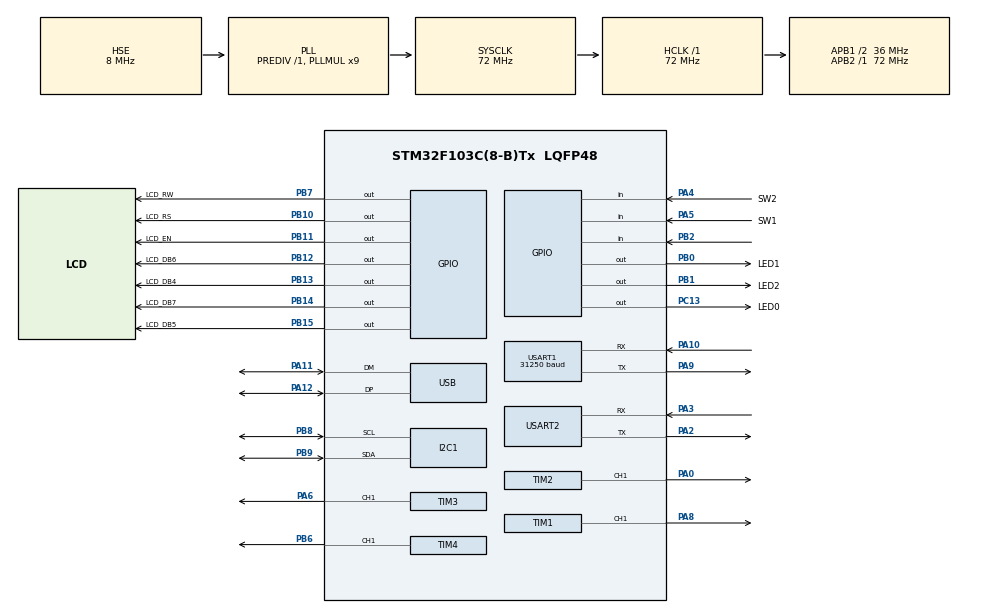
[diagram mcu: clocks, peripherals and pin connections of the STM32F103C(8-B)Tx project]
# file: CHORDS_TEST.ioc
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Mcu.Family=STM32F1
Mcu.Name=STM32F103C(8-B)Tx
Mcu.Package=LQFP48
NVIC.PriorityGroup=NVIC_PRIORITYGROUP_4
NVIC.TIM1_UP_IRQn=true\:0\:0\:false\:false\:true\:true\:true
PA0-WKUP.Signal=S_TIM2_CH1_ETR
PA10.Mode=Asynchronous
PA10.Signal=USART1_RX
PA11.Mode=Device
PA11.Signal=USB_DM
PA12.Mode=Device
PA12.Signal=USB_DP
PA13.Mode=Serial_Wire
PA13.Signal=SYS_JTMS-SWDIO
PA14.Mode=Serial_Wire
PA14.Signal=SYS_JTCK-SWCLK
PA2.Mode=Asynchronous
PA2.Signal=USART2_TX
PA3.Mode=Asynchronous
PA3.Signal=USART2_RX
PA4.GPIO_Label=SW2
PA4.Signal=GPIO_Input
PA5.GPIO_Label=SW1
PA5.Signal=GPIO_Input
PA6.Signal=S_TIM3_CH1
PA8.Signal=S_TIM1_CH1
PA9.Mode=Asynchronous
PA9.Signal=USART1_TX
PB0.GPIO_Label=LED1
PB0.Signal=GPIO_Output
PB1.GPIO_Label=LED2
PB1.Signal=GPIO_Output
PB10.GPIO_Label=LCD_RS
PB10.Signal=GPIO_Output
PB11.GPIO_Label=LCD_EN
PB11.Signal=GPIO_Output
PB12.GPIO_Label=LCD_DB6
PB12.Signal=GPIO_Output
PB13.GPIO_Label=LCD_DB4
PB13.Signal=GPIO_Output
PB14.GPIO_Label=LCD_DB7
PB14.Signal=GPIO_Output
PB15.GPIO_Label=LCD_DB5
PB15.Signal=GPIO_Output
PB2.Signal=GPIO_Input
PB6.Signal=S_TIM4_CH1
PB7.GPIO_Label=LCD_RW
PB7.Signal=GPIO_Output
PB8.Mode=I2C
PB8.Signal=I2C1_SCL
PB9.Mode=I2C
PB9.Signal=I2C1_SDA
PC13-TAMPER-RTC.GPIO_Label=LED0
PC13-TAMPER-RTC.Signal=GPIO_Output
PD0-OSC_IN.Mode=HSE-External-Oscillator
PD0-OSC_IN.Signal=RCC_OSC_IN
PD1-OSC_OUT.Mode=HSE-External-Oscillator
PD1-OSC_OUT.Signal=RCC_OSC_OUT
ProjectManager.HeapSize=0x200
ProjectManager.StackSize=0x400
ProjectManager.TargetToolchain=SW4STM32
RCC.AHBFreq_Value=72000000
RCC.APB1CLKDivider=RCC_HCLK_DIV2
RCC.APB1Freq_Value=36000000
RCC.APB1TimFreq_Value=72000000
RCC.APB2Freq_Value=72000000
RCC.APB2TimFreq_Value=72000000
RCC.HCLKFreq_Value=72000000
RCC.PLLMUL=RCC_PLL_MUL9
RCC.PLLSourceVirtual=RCC_PLLSOURCE_HSE
RCC.SYSCLKFreq_VALUE=72000000
RCC.SYSCLKSource=RCC_SYSCLKSOURCE_PLLCLK
RCC.USBFreq_Value=48000000
RCC.USBPrescaler=RCC_USBCLKSOURCE_PLL_DIV1_5
SH.S_TIM1_CH1.0=TIM1_CH1,PWM Generation1 CH1
SH.S_TIM2_CH1_ETR.0=TIM2_CH1,PWM Generation1 CH1
SH.S_TIM3_CH1.0=TIM3_CH1,PWM Generation1 CH1
SH.S_TIM4_CH1.0=TIM4_CH1,PWM Generation1 CH1
TIM1.Channel-PWM\ Generation1\ CH1=TIM_CHANNEL_1
TIM1.Period=2303
TIM1.Prescaler=0
TIM2.Channel-PWM\ Generation1\ CH1=TIM_CHANNEL_1
TIM3.Channel-PWM\ Generation1\ CH1=TIM_CHANNEL_1
TIM4.Channel-PWM\ Generation1\ CH1=TIM_CHANNEL_1
USART1.BaudRate=31250
USART1.VirtualMode=VM_ASYNC
USART2.VirtualMode=VM_ASYNC
board=custom

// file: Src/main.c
/* USER CODE BEGIN Header */
/**
 ******************************************************************************
 * @file           : main.c
 * @brief          : Main program body
 ******************************************************************************
 * @attention
 *
 * <h2><center>&copy; Copyright (c) 2019 STMicroelectronics.
 * All rights reserved.</center></h2>
 *
 * This software component is licensed by ST under BSD 3-Clause license,
 * the "License"; You may not use this file except in compliance with the
 * License. You may obtain a copy of the License at:
 *                        opensource.org/licenses/BSD-3-Clause
 *
 ******************************************************************************
 */
/* USER CODE END Header */

#include "main.h"
#include "i2c.h"
#include "tim.h"
#include "usart.h"
#include "usb.h"
#include "gpio.h"

/* USER CODE BEGIN Includes */
#include "tables.h"
/* USER CODE END Includes */

/* USER CODE BEGIN PV */
double doremi[8] = { 19.2807897, 21.6419358, 24.3192378, 25.7367067, 28.8884635, 32.42624,
		36.3972016, 38.5615057 };
double idx = 0.0;
double idx2 = 0.0;
double interval = 0; // C4 440Hz
double interval2 = 0;
//double interval = 8.99;
int flag = 0;
int flag2 = 0;
/* USER CODE END PV */

void SystemClock_Config(void);

int main(void) {

	/* MCU Configuration--------------------------------------------------------*/

	/* Reset of all peripherals, Initializes the Flash interface and the Systick. */
	HAL_Init();

	/* Configure the system clock */
	SystemClock_Config();

	/* Initialize all configured peripherals */
	MX_GPIO_Init();
	MX_I2C1_Init();
	MX_TIM1_Init();
	MX_TIM2_Init();
	MX_TIM3_Init();
	MX_TIM4_Init();
	MX_USART1_UART_Init();
	MX_USART2_UART_Init();
	MX_USB_PCD_Init();
	/* USER CODE BEGIN 2 */
	HAL_TIM_Base_Start_IT(&htim1);
	HAL_TIM_PWM_Start_IT(&htim1, TIM_CHANNEL_1);
	__HAL_TIM_SET_COMPARE(&htim1, TIM_CHANNEL_1, 0);
	uint32_t tick = HAL_GetTick();
	uint8_t ii = 0;
	interval = doremi[0];
	interval2 = doremi[0];
	/* USER CODE END 2 */

	/* Infinite loop */
	/* USER CODE BEGIN WHILE */
	while (1) {
		if (HAL_GetTick() - tick > 1000) {
			idx = 0;
			idx2 = 0;
			interval = doremi[ii];
			ii++;
			if (ii == 8) {
				ii = 0;
			}
			tick = HAL_GetTick();
		}
		if (HAL_GPIO_ReadPin(SW1_GPIO_Port, SW1_Pin) == GPIO_PIN_RESET) {
			flag = !flag;
			HAL_GPIO_TogglePin(LED2_GPIO_Port, LED2_Pin);
			while (HAL_GPIO_ReadPin(SW1_GPIO_Port, SW1_Pin) == GPIO_PIN_RESET)
				;
		}
		if (HAL_GPIO_ReadPin(SW2_GPIO_Port, SW2_Pin) == GPIO_PIN_RESET) {
			flag2 = !flag2;
			HAL_GPIO_TogglePin(LED1_GPIO_Port, LED1_Pin);
			while (HAL_GPIO_ReadPin(SW2_GPIO_Port, SW2_Pin) == GPIO_PIN_RESET)
				;
		}
		/* USER CODE END WHILE */

	}
}

void SystemClock_Config(void) {
	RCC_OscInitTypeDef RCC_OscInitStruct = { 0 };
	RCC_ClkInitTypeDef RCC_ClkInitStruct = { 0 };
	RCC_PeriphCLKInitTypeDef PeriphClkInit = { 0 };

	/** Initializes the CPU, AHB and APB busses clocks
	 */
	RCC_OscInitStruct.OscillatorType = RCC_OSCILLATORTYPE_HSE;
	RCC_OscInitStruct.HSEState = RCC_HSE_ON;
	RCC_OscInitStruct.HSEPredivValue = RCC_HSE_PREDIV_DIV1;
	RCC_OscInitStruct.HSIState = RCC_HSI_ON;
	RCC_OscInitStruct.PLL.PLLState = RCC_PLL_ON;
	RCC_OscInitStruct.PLL.PLLSource = RCC_PLLSOURCE_HSE;
	RCC_OscInitStruct.PLL.PLLMUL = RCC_PLL_MUL9;
	if (HAL_RCC_OscConfig(&RCC_OscInitStruct) != HAL_OK) {
		Error_Handler();
	}
	/** Initializes the CPU, AHB and APB busses clocks
	 */
	RCC_ClkInitStruct.ClockType = RCC_CLOCKTYPE_HCLK | RCC_CLOCKTYPE_SYSCLK | RCC_CLOCKTYPE_PCLK1
			| RCC_CLOCKTYPE_PCLK2;
	RCC_ClkInitStruct.SYSCLKSource = RCC_SYSCLKSOURCE_PLLCLK;
	RCC_ClkInitStruct.AHBCLKDivider = RCC_SYSCLK_DIV1;
	RCC_ClkInitStruct.APB1CLKDivider = RCC_HCLK_DIV2;
	RCC_ClkInitStruct.APB2CLKDivider = RCC_HCLK_DIV1;

	if (HAL_RCC_ClockConfig(&RCC_ClkInitStruct, FLASH_LATENCY_2) != HAL_OK) {
		Error_Handler();
	}
	PeriphClkInit.PeriphClockSelection = RCC_PERIPHCLK_USB;
	PeriphClkInit.UsbClockSelection = RCC_USBCLKSOURCE_PLL_DIV1_5;
	if (HAL_RCCEx_PeriphCLKConfig(&PeriphClkInit) != HAL_OK) {
		Error_Handler();
	}
}

/* USER CODE BEGIN 4 */
void HAL_TIM_PWM_PulseFinishedCallback(TIM_HandleTypeDef *htim) {
	HAL_GPIO_TogglePin(LED0_GPIO_Port, LED0_Pin);
	if (flag == 0) {
		__HAL_TIM_SET_COMPARE(&htim1, TIM_CHANNEL_1, 0);
	} else {
		if (flag2 == 0) {
			__HAL_TIM_SET_COMPARE(&htim1, TIM_CHANNEL_1, sin_val[(unsigned int )idx]);
		} else {
			__HAL_TIM_SET_COMPARE(&htim1, TIM_CHANNEL_1, (sin_val[(unsigned int) idx] + sin_val[(unsigned int) idx2]) / 2);
		}

	}

	idx += interval;
	if (idx >= RESOLUTION) {
		idx = idx - (int) idx;
		//idx = 0;
	}

	idx2 += interval2;
	if (idx2 >= RESOLUTION) {
		idx2 = idx2 - (int) idx2;
		//idx2 = 0;
	}

}
/* USER CODE END 4 */

void Error_Handler(void) {
}

/************************ (C) COPYRIGHT STMicroelectronics *****END OF FILE****/
